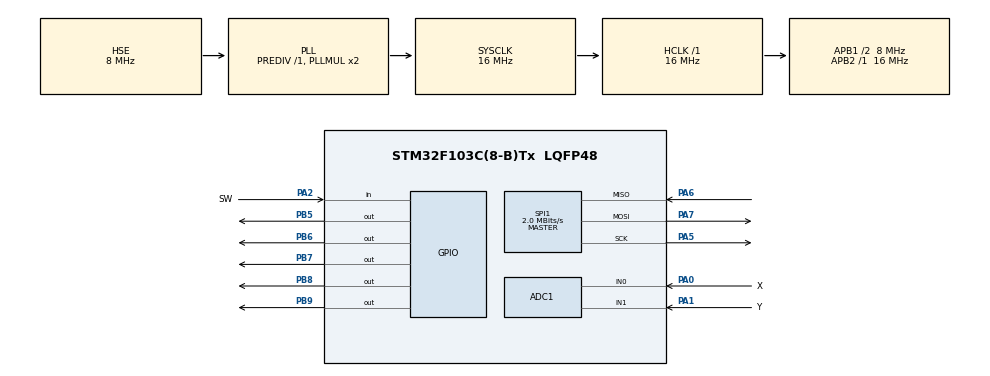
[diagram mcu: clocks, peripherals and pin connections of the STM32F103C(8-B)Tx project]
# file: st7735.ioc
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ADC1.Channel-3\#ChannelInjectedConversion=ADC_CHANNEL_0
ADC1.Channel-5\#ChannelInjectedConversion=ADC_CHANNEL_1
ADC1.ContinuousConvMode=DISABLE
ADC1.EnableInjectedConversion=ENABLE
ADC1.EnableRegularConversion=DISABLE
ADC1.InjNumberOfConversion=2
ADC1.InjectedOffset-3\#ChannelInjectedConversion=0
ADC1.InjectedOffset-5\#ChannelInjectedConversion=0
ADC1.InjectedRank-3\#ChannelInjectedConversion=1
ADC1.InjectedRank-5\#ChannelInjectedConversion=2
ADC1.SamplingTime-3\#ChannelInjectedConversion=ADC_SAMPLETIME_1CYCLE_5
ADC1.SamplingTime-5\#ChannelInjectedConversion=ADC_SAMPLETIME_1CYCLE_5
ADC1.master=1
Mcu.Family=STM32F1
Mcu.Name=STM32F103C(8-B)Tx
Mcu.Package=LQFP48
NVIC.PriorityGroup=NVIC_PRIORITYGROUP_4
NVIC.RTC_IRQn=true\:0\:0\:false\:false\:true\:true\:true\:true
NVIC.TIM1_UP_IRQn=true\:0\:0\:false\:false\:true\:true\:true\:true
PA0-WKUP.GPIO_Label=X
PA0-WKUP.Signal=ADCx_IN0
PA1.GPIO_Label=Y
PA1.Signal=ADCx_IN1
PA13.Mode=Serial_Wire
PA13.Signal=SYS_JTMS-SWDIO
PA14.Mode=Serial_Wire
PA14.Signal=SYS_JTCK-SWCLK
PA2.GPIO_Label=SW
PA2.GPIO_PuPd=GPIO_PULLUP
PA2.Signal=GPIO_Input
PA5.Mode=Full_Duplex_Master
PA5.Signal=SPI1_SCK
PA6.Mode=Full_Duplex_Master
PA6.Signal=SPI1_MISO
PA7.Mode=Full_Duplex_Master
PA7.Signal=SPI1_MOSI
PB5.Signal=GPIO_Output
PB6.Signal=GPIO_Output
PB7.Signal=GPIO_Output
PB8.Signal=GPIO_Output
PB9.Signal=GPIO_Output
PC14-OSC32_IN.Mode=LSE-External-Oscillator
PC14-OSC32_IN.Signal=RCC_OSC32_IN
PC15-OSC32_OUT.Mode=LSE-External-Oscillator
PC15-OSC32_OUT.Signal=RCC_OSC32_OUT
PD0-OSC_IN.Mode=HSE-External-Oscillator
PD0-OSC_IN.Signal=RCC_OSC_IN
PD1-OSC_OUT.Mode=HSE-External-Oscillator
PD1-OSC_OUT.Signal=RCC_OSC_OUT
ProjectManager.HeapSize=0x200
ProjectManager.StackSize=0x400
ProjectManager.TargetToolchain=STM32CubeIDE
RCC.ADCPresc=RCC_ADCPCLK2_DIV8
RCC.AHBFreq_Value=16000000
RCC.APB1CLKDivider=RCC_HCLK_DIV2
RCC.APB1Freq_Value=8000000
RCC.APB1TimFreq_Value=16000000
RCC.APB2Freq_Value=16000000
RCC.APB2TimFreq_Value=16000000
RCC.HCLKFreq_Value=16000000
RCC.PLLSourceVirtual=RCC_PLLSOURCE_HSE
RCC.SYSCLKFreq_VALUE=16000000
RCC.SYSCLKSource=RCC_SYSCLKSOURCE_PLLCLK
RCC.USBFreq_Value=16000000
SH.ADCx_IN0.0=ADC1_IN0,IN0
SH.ADCx_IN1.0=ADC1_IN1,IN1
SPI1.BaudRatePrescaler=SPI_BAUDRATEPRESCALER_8
SPI1.CalculateBaudRate=2.0 MBits/s
SPI1.Direction=SPI_DIRECTION_2LINES
SPI1.Mode=SPI_MODE_MASTER
SPI1.VirtualType=VM_MASTER
TIM1.Prescaler=7
VP_RTC_VS_RTC_Activate.Mode=RTC_Enabled
VP_RTC_VS_RTC_Calendar.Mode=RTC_Calendar
VP_TIM1_VS_ClockSourceINT.Mode=Internal
board=custom

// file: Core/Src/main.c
/* USER CODE BEGIN Header */
/**
  ******************************************************************************
  * @file           : main.c
  * @brief          : Main program body
  ******************************************************************************
  * @attention
  *
  * Copyright (c) 2023 STMicroelectronics.
  * All rights reserved.
  *
  * This software is licensed under terms that can be found in the LICENSE file
  * in the root directory of this software component.
  * If no LICENSE file comes with this software, it is provided AS-IS.
  *
  ******************************************************************************
  */
/* USER CODE END Header */
#include "main.h"

/* USER CODE BEGIN Includes */
#include "st7735.h"
#include <string.h>
#include "fonts.h"
#include <stdlib.h>
//#include "testimg.h"
/* USER CODE END Includes */

ADC_HandleTypeDef hadc1;

RTC_HandleTypeDef hrtc;

SPI_HandleTypeDef hspi1;

TIM_HandleTypeDef htim1;

/* USER CODE BEGIN PV */
uint32_t t = 0;
uint32_t info;
uint16_t x=0;
uint16_t y=0;
uint16_t dotx=60;
uint16_t doty=60;
char tstr[32];
char str[32];
char cr1[3]="CR1";
char cr2[3]="CR2";
char sr[3]= " SR";
/* USER CODE END PV */

void SystemClock_Config(void);
static void MX_GPIO_Init(void);
static void MX_RTC_Init(void);
static void MX_SPI1_Init(void);
static void MX_ADC1_Init(void);
static void MX_TIM1_Init(void);

int main(void)
{

  /* MCU Configuration--------------------------------------------------------*/

  /* Reset of all peripherals, Initializes the Flash interface and the Systick. */
  HAL_Init();

  /* USER CODE BEGIN Init */
  HAL_Delay(200);
  /* USER CODE END Init */

  /* Configure the system clock */
  SystemClock_Config();

  /* Initialize all configured peripherals */
  MX_GPIO_Init();
  MX_RTC_Init();
  MX_SPI1_Init();
  MX_ADC1_Init();
  MX_TIM1_Init();
  /* USER CODE BEGIN 2 */
  HAL_TIM_Base_Start_IT(&htim1);

  //DISPLAY INIT
  ST7735_Init();
  ST7735_FillScreen(ST7735_BLACK);
  ST7735_WriteString(0, 0, "  Zhenya miss2005 you are a miracle) ", Font_11x18, ST7735_WHITE, ST7735_BLACK);
  HAL_Delay(200);
  ST7735_FillScreen(ST7735_BLACK);

  //ADC calibration
  HAL_ADC_Stop(&hadc1);
  HAL_ADCEx_Calibration_Start(&hadc1);
  HAL_ADC_Start(&hadc1);
  /* USER CODE END 2 */

  /* Infinite loop */
  while (1)
  {

    /* USER CODE BEGIN 3 */
	//ST7735_FillRectangle(dotx,doty,5,5,ST7735_BLACK);
	//ST7735_WriteString(dotx,doty, "@", Font_16x26, ST7735_BLACK, ST7735_BLACK);
	x=ADC1->JDR1;
	y=ADC1->JDR2;
	if((y>2100)&(doty<110)){doty+=(y-2100)/500;}
	if((y<1900)&(doty>10)){doty+=(y-1900)/500;}
	if((x>2100)&(dotx<150)){dotx+=(x-2100)/500;}
	if((x<1900)&(dotx>10)){dotx+=(x-1900)/500;}
	//ST7735_WriteString(dotx, doty, "@", Font_16x26, ST7735_WHITE, ST7735_BLACK);
	ST7735_FillRectangle(dotx,doty,5,5,ST7735_WHITE);
	itoa(x, tstr, 10);
	ST7735_WriteString(0, 15, tstr, Font_7x10, ST7735_WHITE, ST7735_BLACK);
	itoa(y, tstr, 10);
	ST7735_WriteString(0, 25, tstr, Font_7x10, ST7735_WHITE, ST7735_BLACK);
	if((GPIOA->IDR)&(SW_Pin)){
		ST7735_FillScreen(ST7735_BLACK);
	}
	HAL_Delay(15);
	/*
	  itoa(t, tstr, 10);
	  ST7735_WriteString(0, 5, tstr, Font_7x10, ST7735_WHITE, ST7735_BLACK);

	  itoa(x, tstr, 10);
	  ST7735_WriteString(0, 15, tstr, Font_7x10, ST7735_WHITE, ST7735_BLACK);

	  itoa(y, tstr, 10);
	  ST7735_WriteString(0, 25, tstr, Font_7x10, ST7735_WHITE, ST7735_BLACK);
	  info = ADC1->CR1;
	  itoa(info, str, 16);
	  ST7735_WriteString(0, 40, str, Font_7x10, ST7735_WHITE, ST7735_BLACK);
	  //ST7735_WriteString(30, 80, cr1, Font_7x10, ST7735_WHITE, ST7735_BLACK);
	  info = ADC1->CR2;
	  itoa(info, str, 16);
	  ST7735_WriteString(0, 60, str, Font_7x10, ST7735_WHITE, ST7735_BLACK);
	  //ST7735_WriteString(30, 100, cr2, Font_7x10, ST7735_WHITE, ST7735_BLACK);
	  info = ADC1->SR;
	  itoa(info, str, 16);
	  ST7735_WriteString(0, 80, str, Font_7x10, ST7735_WHITE, ST7735_BLACK);
	  //ST7735_WriteString(30, 120, sr, Font_7x10, ST7735_WHITE, ST7735_BLACK);
	  info = ADC1->JSQR;
	  itoa(info, str, 16);
	  ST7735_WriteString(0, 100, str, Font_7x10, ST7735_WHITE, ST7735_BLACK);
	*/

  }
  /* USER CODE END 3 */
}

void SystemClock_Config(void)
{
  RCC_OscInitTypeDef RCC_OscInitStruct = {0};
  RCC_ClkInitTypeDef RCC_ClkInitStruct = {0};
  RCC_PeriphCLKInitTypeDef PeriphClkInit = {0};

  /** Initializes the RCC Oscillators according to the specified parameters
  * in the RCC_OscInitTypeDef structure.
  */
  RCC_OscInitStruct.OscillatorType = RCC_OSCILLATORTYPE_LSI|RCC_OSCILLATORTYPE_HSE;
  RCC_OscInitStruct.HSEState = RCC_HSE_ON;
  RCC_OscInitStruct.HSEPredivValue = RCC_HSE_PREDIV_DIV1;
  RCC_OscInitStruct.HSIState = RCC_HSI_ON;
  RCC_OscInitStruct.LSIState = RCC_LSI_ON;
  RCC_OscInitStruct.PLL.PLLState = RCC_PLL_ON;
  RCC_OscInitStruct.PLL.PLLSource = RCC_PLLSOURCE_HSE;
  RCC_OscInitStruct.PLL.PLLMUL = RCC_PLL_MUL2;
  if (HAL_RCC_OscConfig(&RCC_OscInitStruct) != HAL_OK)
  {
    Error_Handler();
  }

  /** Initializes the CPU, AHB and APB buses clocks
  */
  RCC_ClkInitStruct.ClockType = RCC_CLOCKTYPE_HCLK|RCC_CLOCKTYPE_SYSCLK
                              |RCC_CLOCKTYPE_PCLK1|RCC_CLOCKTYPE_PCLK2;
  RCC_ClkInitStruct.SYSCLKSource = RCC_SYSCLKSOURCE_PLLCLK;
  RCC_ClkInitStruct.AHBCLKDivider = RCC_SYSCLK_DIV1;
  RCC_ClkInitStruct.APB1CLKDivider = RCC_HCLK_DIV2;
  RCC_ClkInitStruct.APB2CLKDivider = RCC_HCLK_DIV1;

  if (HAL_RCC_ClockConfig(&RCC_ClkInitStruct, FLASH_LATENCY_0) != HAL_OK)
  {
    Error_Handler();
  }
  PeriphClkInit.PeriphClockSelection = RCC_PERIPHCLK_RTC|RCC_PERIPHCLK_ADC;
  PeriphClkInit.RTCClockSelection = RCC_RTCCLKSOURCE_LSI;
  PeriphClkInit.AdcClockSelection = RCC_ADCPCLK2_DIV8;
  if (HAL_RCCEx_PeriphCLKConfig(&PeriphClkInit) != HAL_OK)
  {
    Error_Handler();
  }
}

static void MX_ADC1_Init(void)
{

  ADC_InjectionConfTypeDef sConfigInjected = {0};

  /** Common config
  */
  hadc1.Instance = ADC1;
  hadc1.Init.ScanConvMode = ADC_SCAN_ENABLE;
  hadc1.Init.ContinuousConvMode = DISABLE;
  hadc1.Init.DiscontinuousConvMode = DISABLE;
  hadc1.Init.ExternalTrigConv = ADC_SOFTWARE_START;
  hadc1.Init.DataAlign = ADC_DATAALIGN_RIGHT;
  hadc1.Init.NbrOfConversion = 1;
  if (HAL_ADC_Init(&hadc1) != HAL_OK)
  {
    Error_Handler();
  }

  /** Configure Injected Channel
  */
  sConfigInjected.InjectedChannel = ADC_CHANNEL_0;
  sConfigInjected.InjectedRank = ADC_INJECTED_RANK_1;
  sConfigInjected.InjectedNbrOfConversion = 2;
  sConfigInjected.InjectedSamplingTime = ADC_SAMPLETIME_1CYCLE_5;
  sConfigInjected.ExternalTrigInjecConv = ADC_INJECTED_SOFTWARE_START;
  sConfigInjected.AutoInjectedConv = DISABLE;
  sConfigInjected.InjectedDiscontinuousConvMode = DISABLE;
  sConfigInjected.InjectedOffset = 0;
  if (HAL_ADCEx_InjectedConfigChannel(&hadc1, &sConfigInjected) != HAL_OK)
  {
    Error_Handler();
  }

  /** Configure Injected Channel
  */
  sConfigInjected.InjectedChannel = ADC_CHANNEL_1;
  sConfigInjected.InjectedRank = ADC_INJECTED_RANK_2;
  if (HAL_ADCEx_InjectedConfigChannel(&hadc1, &sConfigInjected) != HAL_OK)
  {
    Error_Handler();
  }
  /* USER CODE BEGIN ADC1_Init 2 */

  /*
  When using scan mode, DMA bit must be set and the direct memory access controller is
  used to transfer the converted data of regular group channels to SRAM after each update of
  the ADC_DR register.
  *///ADC1->CR2|= 1<<8;//Bit 8 DMA: Direct memory access mode

  ADC1->CR2 &= ~ADC_CR2_ADON; // запретить АЦП

  ADC1->CR1|=ADC_CR1_JEOCIE; //JEOCIE: Interrupt enable for injected channels
  //ADC1->CR2|=111<<12;//JEXTSEL[2:0] 111: JSWSTART Software start
  ADC1->CR2|=ADC_CR2_JEXTTRIG; //JEXTTRIG: External trigger conversion mode for injected channels
  ADC1->CR2 |= ADC_CR2_ADON; // разрешить АЦП
  /* USER CODE END ADC1_Init 2 */

}

static void MX_RTC_Init(void)
{

  RTC_TimeTypeDef sTime = {0};
  RTC_DateTypeDef DateToUpdate = {0};

  /** Initialize RTC Only
  */
  hrtc.Instance = RTC;
  hrtc.Init.AsynchPrediv = RTC_AUTO_1_SECOND;
  hrtc.Init.OutPut = RTC_OUTPUTSOURCE_ALARM;
  if (HAL_RTC_Init(&hrtc) != HAL_OK)
  {
    Error_Handler();
  }

  /** Initialize RTC and set the Time and Date
  */
  sTime.Hours = 0x0;
  sTime.Minutes = 0x0;
  sTime.Seconds = 0x0;

  if (HAL_RTC_SetTime(&hrtc, &sTime, RTC_FORMAT_BCD) != HAL_OK)
  {
    Error_Handler();
  }
  DateToUpdate.WeekDay = RTC_WEEKDAY_MONDAY;
  DateToUpdate.Month = RTC_MONTH_JANUARY;
  DateToUpdate.Date = 0x1;
  DateToUpdate.Year = 0x0;

  if (HAL_RTC_SetDate(&hrtc, &DateToUpdate, RTC_FORMAT_BCD) != HAL_OK)
  {
    Error_Handler();
  }
  /* USER CODE BEGIN RTC_Init 2 */
  HAL_RTCEx_SetSecond_IT(&hrtc);
  /* USER CODE END RTC_Init 2 */

}

static void MX_SPI1_Init(void)
{

  /* SPI1 parameter configuration*/
  hspi1.Instance = SPI1;
  hspi1.Init.Mode = SPI_MODE_MASTER;
  hspi1.Init.Direction = SPI_DIRECTION_2LINES;
  hspi1.Init.DataSize = SPI_DATASIZE_8BIT;
  hspi1.Init.CLKPolarity = SPI_POLARITY_LOW;
  hspi1.Init.CLKPhase = SPI_PHASE_1EDGE;
  hspi1.Init.NSS = SPI_NSS_SOFT;
  hspi1.Init.BaudRatePrescaler = SPI_BAUDRATEPRESCALER_8;
  hspi1.Init.FirstBit = SPI_FIRSTBIT_MSB;
  hspi1.Init.TIMode = SPI_TIMODE_DISABLE;
  hspi1.Init.CRCCalculation = SPI_CRCCALCULATION_DISABLE;
  hspi1.Init.CRCPolynomial = 10;
  if (HAL_SPI_Init(&hspi1) != HAL_OK)
  {
    Error_Handler();
  }

}

static void MX_TIM1_Init(void)
{

  TIM_ClockConfigTypeDef sClockSourceConfig = {0};
  TIM_MasterConfigTypeDef sMasterConfig = {0};

  htim1.Instance = TIM1;
  htim1.Init.Prescaler = 7;
  htim1.Init.CounterMode = TIM_COUNTERMODE_UP;
  htim1.Init.Period = 65535;
  htim1.Init.ClockDivision = TIM_CLOCKDIVISION_DIV1;
  htim1.Init.RepetitionCounter = 0;
  htim1.Init.AutoReloadPreload = TIM_AUTORELOAD_PRELOAD_DISABLE;
  if (HAL_TIM_Base_Init(&htim1) != HAL_OK)
  {
    Error_Handler();
  }
  sClockSourceConfig.ClockSource = TIM_CLOCKSOURCE_INTERNAL;
  if (HAL_TIM_ConfigClockSource(&htim1, &sClockSourceConfig) != HAL_OK)
  {
    Error_Handler();
  }
  sMasterConfig.MasterOutputTrigger = TIM_TRGO_RESET;
  sMasterConfig.MasterSlaveMode = TIM_MASTERSLAVEMODE_DISABLE;
  if (HAL_TIMEx_MasterConfigSynchronization(&htim1, &sMasterConfig) != HAL_OK)
  {
    Error_Handler();
  }
  /* USER CODE BEGIN TIM1_Init 2 */

  /*
    UDIS: Update disable
    This bit is set and cleared by software to enable/disable UEV event generation.
    0: UEV enabled. The Update (UEV) event is generated by one of the following events:
    –
    Counter overflow/underflow
    Setting the UG bit
    –
    Update generation through the slave mode controller
    Buffered registers are then loaded with their preload values.
    1: UEV disabled. The Update event is not generated, shadow registers keep their value
    (ARR, PSC, CCRx). However the counter and the prescaler are reinitialized if the UG bit is
    set or if a hardware reset is received from the slave mode controller.
    */
    TIM1->CR1&= ~(1 << 1); //set the UDIS bit to ZERO (to generate UPDATE events) it ANDs data&111...1101

  /* USER CODE END TIM1_Init 2 */

}

static void MX_GPIO_Init(void)
{
  GPIO_InitTypeDef GPIO_InitStruct = {0};

  /* GPIO Ports Clock Enable */
  __HAL_RCC_GPIOC_CLK_ENABLE();
  __HAL_RCC_GPIOD_CLK_ENABLE();
  __HAL_RCC_GPIOA_CLK_ENABLE();
  __HAL_RCC_GPIOB_CLK_ENABLE();

  /*Configure GPIO pin Output Level */
  HAL_GPIO_WritePin(GPIOB, GPIO_PIN_5|GPIO_PIN_6|GPIO_PIN_7|GPIO_PIN_8
                          |GPIO_PIN_9, GPIO_PIN_RESET);

  /*Configure GPIO pin : SW_Pin */
  GPIO_InitStruct.Pin = SW_Pin;
  GPIO_InitStruct.Mode = GPIO_MODE_INPUT;
  GPIO_InitStruct.Pull = GPIO_PULLUP;
  HAL_GPIO_Init(SW_GPIO_Port, &GPIO_InitStruct);

  /*Configure GPIO pins : PB5 PB6 PB7 PB8
                           PB9 */
  GPIO_InitStruct.Pin = GPIO_PIN_5|GPIO_PIN_6|GPIO_PIN_7|GPIO_PIN_8
                          |GPIO_PIN_9;
  GPIO_InitStruct.Mode = GPIO_MODE_OUTPUT_PP;
  GPIO_InitStruct.Pull = GPIO_NOPULL;
  GPIO_InitStruct.Speed = GPIO_SPEED_FREQ_LOW;
  HAL_GPIO_Init(GPIOB, &GPIO_InitStruct);

}

/* USER CODE BEGIN 4 */
void HAL_RTCEx_RTCEventCallback(RTC_HandleTypeDef *hrtc){
	t+=1;
}

void HAL_TIM_PeriodElapsedCallback(TIM_HandleTypeDef *htim){
	/*
	SWSTART: Start conversion of regular channels
	This bit is set by software to start conversion and cleared by hardware as soon as
	conversion starts. It starts a conversion of a group of regular channels if SWSTART is
	selected as trigger event by the EXTSEL[2:0] bits. that's true as set in MX Cube
	0: Reset state
	1: Starts conversion of regular channels
	 */

	ADC1->CR2|=ADC_CR2_JSWSTART; //JSWSTART: Start conversion of injected channels

	//then wait ConvCpltCallback (EOCIE is set in MX_ADC1_Init)
}

void HAL_ADC_ConvCpltCallback(ADC_HandleTypeDef* hadc1){
	t=4444;
	x=ADC1->JDR1;
	y=ADC1->JDR2;
	//ADC1->SR&=~(ADC_SR_JEOC); //clear bit JEOC: Injected channel end of conversion
	//ADC1->SR&=~(ADC_SR_JSTRT);
	//ADC1->SR&=~(ADC_SR_EOC);
}

/* USER CODE END 4 */

void Error_Handler(void)
{
  __disable_irq();
  while (1)
  {
  }
}
